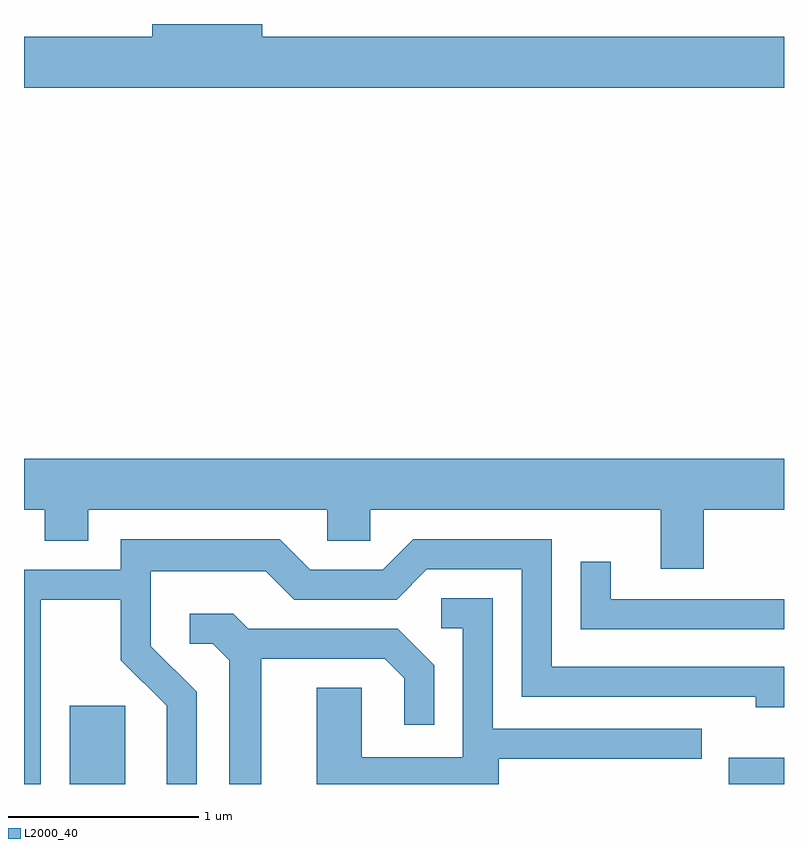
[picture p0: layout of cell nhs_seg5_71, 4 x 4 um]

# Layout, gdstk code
import gdstk
lib = gdstk.Library(unit=1e-6, precision=1e-09)
def R(c, l, rs):  # rectangles x0, y0, x1, y1
    for r in rs: c.add(gdstk.rectangle(r[:2], r[2:], *l))
def P(c, l, *ps):  # polygons
    for p in ps: c.add(gdstk.Polygon(p, *l))
L2000_40 = (2000, 40)

nhs_seg5_71 = lib.new_cell('nhs_seg5_71')
R(nhs_seg5_71, L2000_40, [(187.851,1402.072,188.144,1402.484), (191.321,1402.072,191.611,1402.209)])
P(nhs_seg5_71, L2000_40, [(191.611,1406.004),(188.864,1406.004),(188.864,1406.072),(188.286,1406.072),(188.286,1406.004),(187.611,1406.004),(187.611,1405.736),(191.611,1405.736)],
  [(191.189,1403.516),(191.611,1403.516),(191.611,1403.784),(187.611,1403.784),(187.611,1403.516),(187.721,1403.516),(187.721,1403.351),(187.949,1403.351),(187.949,1403.516),(189.206,1403.516),(189.206,1403.351),(189.434,1403.351),(189.434,1403.516),(190.961,1403.516),(190.961,1403.206),(191.189,1403.206)],
  [(187.699,1403.041),(188.121,1403.041),(188.121,1402.724),(188.361,1402.484),(188.361,1402.072),(188.519,1402.072),(188.519,1402.557),(188.279,1402.797),(188.279,1403.191),(188.884,1403.191),(189.034,1403.041),(189.572,1403.041),(189.732,1403.201),(190.231,1403.201),(190.231,1402.531),(191.461,1402.531),(191.461,1402.476),(191.611,1402.476),(191.611,1402.689),(190.389,1402.689),(190.389,1403.359),(189.659,1403.359),(189.499,1403.199),(189.117,1403.199),(188.957,1403.359),(188.121,1403.359),(188.121,1403.199),(187.611,1403.199),(187.611,1402.072),(187.699,1402.072)],
  [(191.611,1403.044),(190.699,1403.044),(190.699,1403.243),(190.541,1403.243),(190.541,1402.886),(191.611,1402.886)],
  [(190.109,1402.206),(191.178,1402.206),(191.178,1402.364),(190.079,1402.364),(190.079,1403.049),(189.808,1403.049),(189.808,1402.891),(189.921,1402.891),(189.921,1402.214),(189.389,1402.214),(189.389,1402.579),(189.151,1402.579),(189.151,1402.072),(190.109,1402.072)],
  [(188.859,1402.731),(189.509,1402.731),(189.611,1402.629),(189.611,1402.383),(189.769,1402.383),(189.769,1402.697),(189.577,1402.889),(188.792,1402.889),(188.712,1402.969),(188.483,1402.969),(188.483,1402.811),(188.604,1402.811),(188.691,1402.724),(188.691,1402.072),(188.859,1402.072)])

lib.write_gds('nhs_seg5_71.gds')
